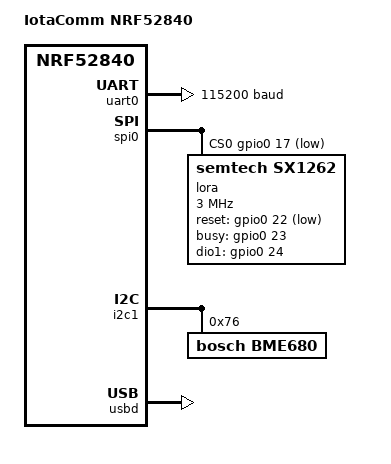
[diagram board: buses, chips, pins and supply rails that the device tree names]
/*
 * Copyright (c) 2023 CONNECTED DEVELOPMENT, A DIVISION OF
 *   EXPONENTIAL TECHNOLOGY GROUP.
 *
 * Copyright (c) 2017 Linaro Limited
 *
 * SPDX-License-Identifier: Apache-2.0
 */

/*
 * Board definition for the Connected Development custom IotaComm board.
 */

/dts-v1/;
#include <nordic/nrf52840_qiaa.dtsi>
#include "iotacomm_nrf52840-pinctrl.dtsi"

/ {
	model = "IotaComm NRF52840";
	compatible = "connecteddev,iotacomm_nrf52840";

	chosen {
		zephyr,console = &uart0;
		zephyr,shell-uart = &uart0;
		zephyr,uart-mcumgr = &uart0;
		zephyr,bt-mon-uart = &uart0;
		zephyr,bt-c2h-uart = &uart0;
		zephyr,sram = &sram0;
		zephyr,flash = &flash0;
		zephyr,code-partition = &slot0_partition;
	};

	aliases {
		lora0 = &lora;
		watchdog0 = &wdt0;
	};
};

&gpio0 {
	status = "okay";
};

&gpio1 {
	status = "okay";
};

&uart0 {
	compatible = "nordic,nrf-uarte";
	status = "okay";
	current-speed = <115200>;
	pinctrl-0 = <&uart0_default>;
	pinctrl-1 = <&uart0_sleep>;
	pinctrl-names = "default", "sleep";
};

/* SX1262 LoRa interface. */
&spi0 {
	/* Cannot be used together with i2c0. */
	status = "okay";

	/* NSS Slave Select */
	cs-gpios = <&gpio0 17 GPIO_ACTIVE_LOW>;

	/*  The SPI bus pins <spi0_default> are defined in iotacomm_nrf52840-pinctrl.dtsi: */
   /*      SCK  - GPIO 0.19 */
   /*      MOSI - GPIO 0.20 */
   /*      MISO - GPIO 0.21 */
	pinctrl-0 = <&spi0_default>;
	pinctrl-1 = <&spi0_sleep>;
	pinctrl-names = "default", "sleep";

	lora: sx1262@0 {
		compatible = "semtech,sx1262";
		reg = <0x0>;
		spi-max-frequency = <3000000>;

		/* Enable SX126x DIO2 output to drive the RF switch. */
		dio2-tx-enable;

		/* Reset output */
		reset-gpios = <&gpio0 22 GPIO_ACTIVE_LOW>;
		/* Busy input */
		busy-gpios  = <&gpio0 23 (GPIO_PULL_DOWN | GPIO_ACTIVE_HIGH)>;
		/* Interrupt input */
		dio1-gpios  = <&gpio0 24 (GPIO_PULL_DOWN | GPIO_ACTIVE_HIGH)>;
	};
};

&i2c0 {
	compatible = "nordic,nrf-twi";
	/* Cannot be used together with spi0. */
	status = "disabled";
	pinctrl-0 = <&i2c0>;
	pinctrl-1 = <&i2c0_sleep>;
	pinctrl-names = "default", "sleep";
};

/* BME680 Environmental sensor interface. */
&i2c1 {
	compatible = "nordic,nrf-twi";
	/* Cannot be used together with spi1. */
	status = "okay";
	pinctrl-0 = <&i2c1_default>;
	pinctrl-1 = <&i2c1_sleep>;
	pinctrl-names = "default", "sleep";

	bme680@76 {
		compatible = "bosch,bme680";
		reg = <0x76>;
	};
};

&flash0 {
	partitions {
		compatible = "fixed-partitions";
		#address-cells = <1>;
		#size-cells = <1>;

		boot_partition: partition@0 {
			label = "mcuboot";
			reg = <0x00000000 0x0000C000>;
		};
		slot0_partition: partition@c000 {
			label = "image-0";
			reg = <0x0000C000 0x00076000>;
		};
		slot1_partition: partition@82000 {
			label = "image-1";
			reg = <0x00082000 0x00076000>;
		};

		/*
		 * The flash starting at 0x000f8000 and ending at
		 * 0x000fffff is reserved for use by the application.
		 */

		/*
		 * Storage partition will be used by FCB/LittleFS/NVS
		 * if enabled.
		 */
		storage_partition: partition@f8000 {
			label = "storage";
			reg = <0x000f8000 0x00008000>;
		};
	};
};

zephyr_udc0: &usbd {
	compatible = "nordic,nrf-usbd";
	status = "okay";
};
